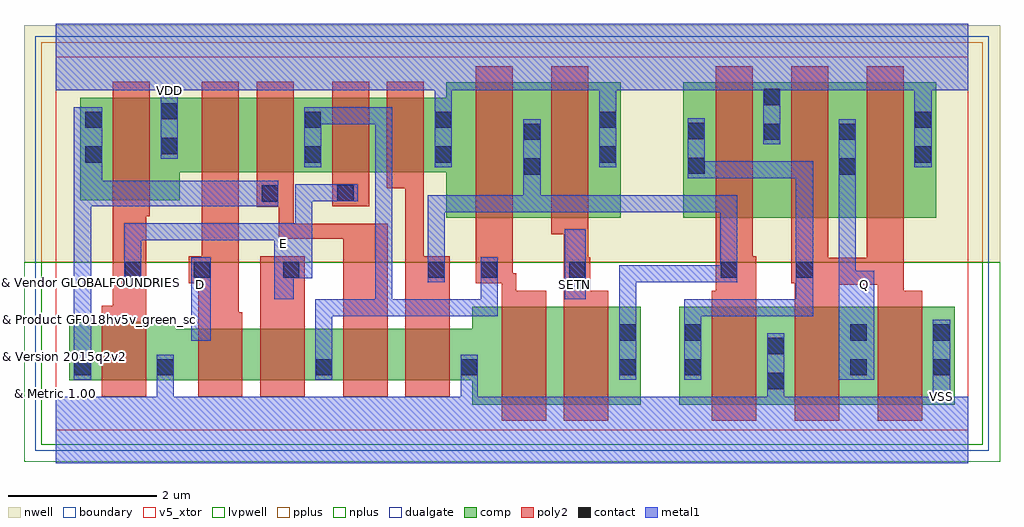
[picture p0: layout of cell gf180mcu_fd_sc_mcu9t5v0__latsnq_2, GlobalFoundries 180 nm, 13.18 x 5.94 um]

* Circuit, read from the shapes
.subckt gf180mcu_fd_sc_mcu9t5v0__latsnq_2 D E Q SETN VDD VSS
XM1 VSS E n1 VSUBS nfet_05v0 w=0.79u l=0.6u
XM2 n2 D VSS VSUBS nfet_05v0 w=0.7u l=0.6u
XM3 n3 E n2 VSUBS nfet_05v0 w=0.7u l=0.6u
XM4 n4 n1 n3 VSUBS nfet_05v0 w=0.7u l=0.6u
XM5 VSS n5 n4 VSUBS nfet_05v0 w=0.7u l=0.6u
XM6 n6 n3 VSS VSUBS nfet_05v0 w=1.32u l=0.6u
XM7 n5 SETN n6 VSUBS nfet_05v0 w=1.32u l=0.6u
XM8 VSS n5 n7 VSUBS nfet_05v0 w=1.32u l=0.6u
XM9 Q n7 VSS VSUBS nfet_05v0 w=1.32u l=0.6u m=2
XM10 VDD E n1 n8 pfet_05v0 w=1.38u l=0.5u
XM11 n9 D VDD n8 pfet_05v0 w=1u l=0.5u
XM12 n3 n1 n9 n8 pfet_05v0 w=1u l=0.5u
XM13 n10 E n3 n8 pfet_05v0 w=1u l=0.5u
XM14 VDD n5 n10 n8 pfet_05v0 w=1u l=0.5u
XM15 n5 n3 VDD n8 pfet_05v0 w=1.83u l=0.5u
XM16 VDD SETN n5 n8 pfet_05v0 w=1.83u l=0.5u
XM17 VDD n5 n7 n8 pfet_05v0 w=1.83u l=0.5u
XM18 Q n7 VDD n8 pfet_05v0 w=1.83u l=0.5u m=2
.ends

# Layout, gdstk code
import gdstk
lib = gdstk.Library(unit=1e-6, precision=1e-09)
def R(c, l, rs):  # rectangles x0, y0, x1, y1
    for r in rs: c.add(gdstk.rectangle(r[:2], r[2:], *l))
def P(c, l, *ps):  # polygons
    for p in ps: c.add(gdstk.Polygon(p, *l))
boundary = (0, 0)
nwell = (21, 0)
comp = (22, 0)
poly2 = (30, 0)
pplus = (31, 0)
nplus = (32, 0)
contact = (33, 0)
metal1 = (34, 0)
dualgate = (55, 0)
v5_xtor = (112, 1)
lvpwell = (204, 0)

gf180mcu_fd_sc_mcu9t5v0_ = lib.new_cell('gf180mcu_fd_sc_mcu9t5v0__latsnq_2')
R(gf180mcu_fd_sc_mcu9t5v0_, boundary, [(0,0,12.32,5.04)])
R(gf180mcu_fd_sc_mcu9t5v0_, nwell, [(-0.43,2.265,12.75,5.47)])
R(gf180mcu_fd_sc_mcu9t5v0_, comp, [(8.42,0.345,12.14,1.665), (8.47,2.865,11.89,4.695)])
P(gf180mcu_fd_sc_mcu9t5v0_, comp, [(5.27,2.865),(5.27,3.485),(1.67,3.485),(1.67,3.105),(0.33,3.105),(0.33,4.485),(5.27,4.485),(5.27,4.695),(7.63,4.695),(7.63,2.865)],
  [(5.62,0.345),(5.62,0.67),(0.18,0.67),(0.18,1.46),(1.62,1.46),(1.62,1.37),(5.62,1.37),(5.62,1.665),(7.9,1.665),(7.9,0.345)])
R(gf180mcu_fd_sc_mcu9t5v0_, poly2, [(2.76,0.45,3.36,2.345), (3.73,3.025,4.23,4.705)])
P(gf180mcu_fd_sc_mcu9t5v0_, poly2, [(0.62,0.45),(0.62,1.68),(0.77,1.68),(0.77,4.705),(1.27,4.705),(1.27,2.885),(1.22,2.885),(1.22,0.45)],
  [(1.92,0.45),(1.92,1.985),(1.795,1.985),(1.795,2.345),(1.97,2.345),(1.97,4.705),(2.47,4.705),(2.47,1.59),(2.52,1.59),(2.52,0.45)],
  [(3.88,0.45),(3.88,2.585),(3.01,2.585),(3.01,3.015),(2.71,3.015),(2.71,4.705),(3.21,4.705),(3.21,2.785),(4.48,2.785),(4.48,0.45)],
  [(4.72,0.45),(4.72,3.265),(4.47,3.265),(4.47,4.705),(4.97,4.705),(4.97,2.345),(5.32,2.345),(5.32,0.45)],
  [(6.02,0.125),(6.02,1.985),(5.67,1.985),(5.67,4.915),(6.17,4.915),(6.17,2.12),(6.22,2.12),(6.22,1.885),(6.62,1.885),(6.62,0.125)],
  [(6.86,0.125),(6.86,2.645),(6.69,2.645),(6.69,4.915),(7.19,4.915),(7.19,2.335),(7.22,2.335),(7.22,1.885),(7.46,1.885),(7.46,0.125)],
  [(8.86,0.125),(8.86,1.885),(8.91,1.885),(8.91,4.915),(9.41,4.915),(9.41,2.345),(9.46,2.345),(9.46,0.125)],
  [(9.98,0.125),(9.98,1.985),(9.93,1.985),(9.93,4.915),(10.43,4.915),(10.43,2.325),(10.95,2.325),(10.95,4.915),(11.45,4.915),(11.45,1.885),(11.7,1.885),(11.7,0.125),(11.1,0.125),(11.1,1.965),(10.58,1.965),(10.58,0.125)])
R(gf180mcu_fd_sc_mcu9t5v0_, pplus, [(-0.2,2.265,12.52,5.24)])
R(gf180mcu_fd_sc_mcu9t5v0_, nplus, [(-0.2,-0.2,12.52,2.265)])
R(gf180mcu_fd_sc_mcu9t5v0_, contact, [(9.61,0.555,9.83,0.775), (0.25,0.74,0.47,0.96), (1.37,0.74,1.59,0.96), (3.51,0.74,3.73,0.96), (5.47,0.74,5.69,0.96), (7.61,0.74,7.83,0.96), (8.49,0.74,8.71,0.96), (10.73,0.74,10.95,0.96), (11.85,0.74,12.07,0.96), (9.61,1.025,9.83,1.245), (7.61,1.21,7.83,1.43), (8.49,1.21,8.71,1.43), (10.73,1.21,10.95,1.43), (11.85,1.21,12.07,1.43), (0.93,2.055,1.15,2.275), (1.865,2.055,2.085,2.275), (3.07,2.055,3.29,2.275), (5.03,2.055,5.25,2.275), (5.74,2.055,5.96,2.275), (6.93,2.055,7.15,2.275), (8.98,2.055,9.2,2.275), (10,2.055,10.22,2.275), (2.78,3.085,3,3.305), (3.8,3.095,4.02,3.315), (6.32,3.45,6.54,3.67), (10.58,3.45,10.8,3.67), (8.54,3.46,8.76,3.68), (0.4,3.61,0.62,3.83), (3.36,3.61,3.58,3.83), (5.12,3.61,5.34,3.83), (7.34,3.61,7.56,3.83), (11.6,3.61,11.82,3.83), (1.42,3.725,1.64,3.945), (6.32,3.92,6.54,4.14), (9.56,3.92,9.78,4.14), (10.58,3.92,10.8,4.14), (8.54,3.93,8.76,4.15), (0.4,4.08,0.62,4.3), (3.36,4.08,3.58,4.3), (5.12,4.08,5.34,4.3), (7.34,4.08,7.56,4.3), (11.6,4.08,11.82,4.3), (1.42,4.195,1.64,4.415), (9.56,4.39,9.78,4.61)])
R(gf180mcu_fd_sc_mcu9t5v0_, metal1, [(1.83,1.21,2.09,2.335), (6.87,1.77,7.155,2.71)])
P(gf180mcu_fd_sc_mcu9t5v0_, metal1, [(0.245,0.68),(0.245,4.36),(0.625,4.36),(0.625,3.365),(3.005,3.365),(3.005,3.025),(0.475,3.025),(0.475,0.68)],
  [(2.95,1.77),(2.95,2.565),(1.155,2.565),(1.155,1.995),(0.925,1.995),(0.925,2.795),(3.235,2.795),(3.235,3.32),(4.08,3.32),(4.08,3.09),(3.465,3.09),(3.465,2.05),(3.21,2.05),(3.21,1.77)],
  [(3.505,0.68),(3.505,1.765),(4.31,1.765),(4.31,4.13),(3.585,4.13),(3.585,3.55),(3.355,3.55),(3.355,4.36),(4.54,4.36),(4.54,1.765),(5.735,1.765),(5.735,2.335),(5.965,2.335),(5.965,1.535),(3.735,1.535),(3.735,0.68)],
  [(7.605,0.68),(7.605,2.225),(8.975,2.225),(8.975,2.94),(5.255,2.94),(5.255,1.995),(5.025,1.995),(5.025,3.17),(6.315,3.17),(6.315,4.2),(6.545,4.2),(6.545,3.17),(9.205,3.17),(9.205,1.995),(7.835,1.995),(7.835,0.68)],
  [(8.485,0.68),(8.485,1.765),(9.995,1.765),(9.995,3.4),(8.535,3.4),(8.535,4.21),(8.765,4.21),(8.765,3.63),(10.225,3.63),(10.225,1.535),(8.715,1.535),(8.715,0.68)],
  [(10.575,0.68),(10.575,4.2),(10.805,4.2),(10.805,2.15),(11.05,2.15),(11.05,0.68)],
  [(0,-0.45),(0,0.45),(1.365,0.45),(1.365,1.02),(1.595,1.02),(1.595,0.45),(5.465,0.45),(5.465,1.02),(5.695,1.02),(5.695,0.45),(9.605,0.45),(9.605,1.305),(9.835,1.305),(9.835,0.45),(11.845,0.45),(11.845,1.49),(12.075,1.49),(12.075,0.45),(12.32,0.45),(12.32,-0.45)],
  [(5.115,3.55),(5.115,4.59),(1.645,4.59),(1.645,3.665),(1.415,3.665),(1.415,4.59),(0,4.59),(0,5.49),(12.32,5.49),(12.32,4.59),(11.825,4.59),(11.825,3.55),(11.595,3.55),(11.595,4.59),(9.785,4.59),(9.785,3.86),(9.555,3.86),(9.555,4.59),(7.565,4.59),(7.565,3.55),(7.335,3.55),(7.335,4.59),(5.345,4.59),(5.345,3.55)])
R(gf180mcu_fd_sc_mcu9t5v0_, dualgate, [(-0.28,-0.28,12.6,5.32)])
R(gf180mcu_fd_sc_mcu9t5v0_, v5_xtor, [(0,0,12.32,5.04)])
R(gf180mcu_fd_sc_mcu9t5v0_, lvpwell, [(-0.43,-0.43,12.75,2.265)])
gf180mcu_fd_sc_mcu9t5v0_.add(gdstk.Label('D', (1.96,1.96), layer=34, texttype=10))
gf180mcu_fd_sc_mcu9t5v0_.add(gdstk.Label('E', (3.08,2.52), layer=34, texttype=10))
gf180mcu_fd_sc_mcu9t5v0_.add(gdstk.Label('Q', (10.92,1.96), layer=34, texttype=10))
gf180mcu_fd_sc_mcu9t5v0_.add(gdstk.Label('SETN', (7,1.96), layer=34, texttype=10))
gf180mcu_fd_sc_mcu9t5v0_.add(gdstk.Label('VDD', (1.53,4.59), layer=34, texttype=10))
gf180mcu_fd_sc_mcu9t5v0_.add(gdstk.Label('VSS', (11.96,0.45), layer=34, texttype=10))
gf180mcu_fd_sc_mcu9t5v0_.add(gdstk.Label('& Vendor GLOBALFOUNDRIES', (0,2), layer=63, texttype=63))
gf180mcu_fd_sc_mcu9t5v0_.add(gdstk.Label('& Product GF018hv5v_green_sc9', (0,1.5), layer=63, texttype=63))
gf180mcu_fd_sc_mcu9t5v0_.add(gdstk.Label('& Version 2015q2v2', (0,1), layer=63, texttype=63))
gf180mcu_fd_sc_mcu9t5v0_.add(gdstk.Label('& Metric 1.00', (0,0.5), layer=63, texttype=63))

lib.write_gds('gf180mcu_fd_sc_mcu9t5v0__latsnq_2.gds')
